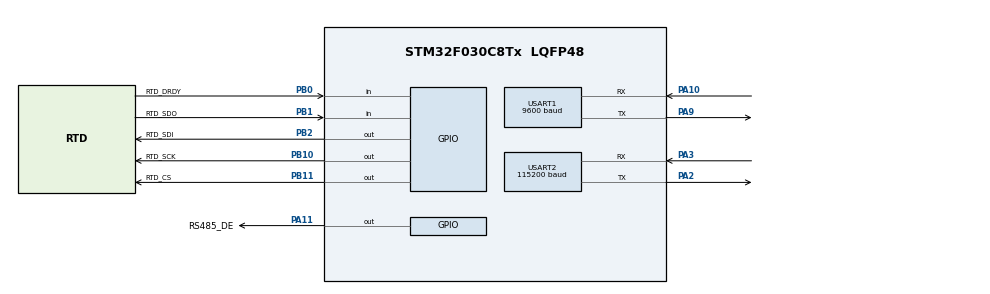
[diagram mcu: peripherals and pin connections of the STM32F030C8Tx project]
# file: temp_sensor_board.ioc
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Mcu.Family=STM32F0
Mcu.Name=STM32F030C8Tx
Mcu.Package=LQFP48
NVIC.USART1_IRQn=true\:0\:0\:false\:false\:true\:true\:true\:true
PA10.Mode=Asynchronous
PA10.Signal=USART1_RX
PA11.GPIO_Label=RS485_DE
PA11.Signal=GPIO_Output
PA2.Mode=Asynchronous
PA2.Signal=USART2_TX
PA3.Mode=Asynchronous
PA3.Signal=USART2_RX
PA9.Mode=Asynchronous
PA9.Signal=USART1_TX
PB0.GPIO_Label=RTD_DRDY
PB0.Signal=GPIO_Input
PB1.GPIO_Label=RTD_SDO
PB1.Signal=GPIO_Input
PB10.GPIO_Label=RTD_SCK
PB10.Signal=GPIO_Output
PB11.GPIO_Label=RTD_CS
PB11.Signal=GPIO_Output
PB2.GPIO_Label=RTD_SDI
PB2.Signal=GPIO_Output
ProjectManager.HeapSize=0x200
ProjectManager.StackSize=0x400
ProjectManager.TargetToolchain=CMake
USART1.BaudRate=9600
USART1.VirtualMode-Asynchronous=VM_ASYNC
USART2.BaudRate=115200
USART2.VirtualMode-Asynchronous=VM_ASYNC
board=custom

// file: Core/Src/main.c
/* USER CODE BEGIN Header */
/**
  ******************************************************************************
  * @file           : main.c
  * @brief          : Main program body
  ******************************************************************************
  * @attention
  *
  * Copyright (c) 2026 STMicroelectronics.
  * All rights reserved.
  *
  * This software is licensed under terms that can be found in the LICENSE file
  * in the root directory of this software component.
  * If no LICENSE file comes with this software, it is provided AS-IS.
  *
  ******************************************************************************
  */
/* USER CODE END Header */
#include "main.h"

/* USER CODE BEGIN Includes */
#include "max31865.h"
#include <stdio.h>
#include <string.h>
#include "uart_bus.h"
#include "protocol.h"
#include "commands.h"
/* USER CODE END Includes */

/* USER CODE BEGIN PD */
#define DEBUG_UART2 0
/* USER CODE END PD */

UART_HandleTypeDef huart1;
UART_HandleTypeDef huart2;

/* USER CODE BEGIN PV */
static SensorState g_state;
static uint32_t g_lastSampleTick = 0;
/* USER CODE END PV */

void SystemClock_Config(void);
static void MX_GPIO_Init(void);
static void MX_USART1_UART_Init(void);
static void MX_USART2_UART_Init(void);

int main(void)
{

  /* MCU Configuration--------------------------------------------------------*/

  /* Reset of all peripherals, Initializes the Flash interface and the Systick. */
  HAL_Init();

  /* Configure the system clock */
  SystemClock_Config();

  /* Initialize all configured peripherals */
  MX_GPIO_Init();
  MX_USART1_UART_Init();
  MX_USART2_UART_Init();
  /* USER CODE BEGIN 2 */
  Max31865_Init();
  UartBus_Init(&huart1);
  state_init_defaults(&g_state);
  g_lastSampleTick = HAL_GetTick();
  /* USER CODE END 2 */

  /* Infinite loop */
  /* USER CODE BEGIN WHILE */
    while (1)
  {
      if (HAL_GetTick() - g_lastSampleTick >= g_state.sampleMs) {
          g_lastSampleTick = HAL_GetTick();
          Max31865_Result r = Max31865_ReadOnce(50);

          g_state.sampleCount++;

          if (r.fault == 0) {
              float rawWithOffset = r.temperatureC + (g_state.offsetDeci / 10.0f);
              g_state.tempRawDeci = (int16_t)(rawWithOffset * 10);

              const float ALPHA = 0.2f;
              if (!g_state.filterInitDone) {
                  g_state.filteredTempC = rawWithOffset;
                  g_state.filterInitDone = 1;
              } else {
                  g_state.filteredTempC = ALPHA * rawWithOffset + (1.0f - ALPHA) * g_state.filteredTempC;
              }
              g_state.tempC = g_state.filteredTempC;

              if (!g_state.minMaxInitDone) {
                  g_state.minSeen = g_state.tempRawDeci;
                  g_state.maxSeen = g_state.tempRawDeci;
                  g_state.minMaxInitDone = 1;
              } else {
                  if (g_state.tempRawDeci < g_state.minSeen) g_state.minSeen = g_state.tempRawDeci;
                  if (g_state.tempRawDeci > g_state.maxSeen) g_state.maxSeen = g_state.tempRawDeci;
              }

              int16_t tempCDeci = (int16_t)(g_state.tempC * 10);
              if (g_state.warnLevel != 0) {
                  if (tempCDeci > g_state.maxTempDeci) g_state.warnState = 1;
                  else if (tempCDeci < g_state.minTempDeci) g_state.warnState = 2;
                  else g_state.warnState = 0;
              } else {
                  g_state.warnState = 0;
              }
          } else {
              if (r.fault & MAX31865_FAULT_PROBE_OPEN)  g_state.statusBits |= STATUS_PROBE_OPEN;
              if (r.fault & MAX31865_FAULT_PROBE_SHORT) g_state.statusBits |= STATUS_PROBE_SHORT;
              if (r.fault & MAX31865_FAULT_OUT_RANGE)   g_state.statusBits |= STATUS_OUT_RANGE;
              if (r.fault & MAX31865_FAULT_CONV_TIMEOUT)g_state.statusBits |= STATUS_CONV_TMO;

              if (g_state.statusBits != g_state.lastFault) {
                  g_state.faultCnt = (g_state.faultCnt < 255) ? g_state.faultCnt + 1 : 255;
                  g_state.lastFault = g_state.statusBits;
              }
          }
          #if DEBUG_UART2
          char dbg[80];
          int tWhole = (int)g_state.tempC;
          int tDeci = (int)((g_state.tempC - tWhole) * 10);
          if (tDeci < 0) tDeci = -tDeci;
          snprintf(dbg, sizeof(dbg), "tempC=%d.%d tempRaw=%d status=0x%02X warn=%d cfgState=%d\r\n",
                  tWhole, tDeci, g_state.tempRawDeci, g_state.statusBits, g_state.warnState, g_state.cfgState);
          HAL_UART_Transmit(&huart2, (uint8_t*)dbg, strlen(dbg), 100);
          #endif
      }

      uint8_t rawBuf[UART_BUS_MAX_FRAME];
      uint16_t rawLen;
      if (UartBus_PollFrame(rawBuf, &rawLen)) {
          Frame req;
          FrameParseResult pr = frame_parse(rawBuf, rawLen, &req);

          if (pr == FRAME_OK) {
              if (req.addr == 0x00) {
                  /* Broadcast: xử lý nếu cần rồi im lặng tuyệt đối */
              } else if (req.addr == MY_ADDR) {
                  Frame resp;
                  handle_frame(&req, &resp, &g_state);
                  uint8_t out[MAX_FRAME];
                  size_t outLen = frame_build(out, sizeof(out), &resp);
                  UartBus_SendFrame(out, (uint16_t)outLen);
              }
          }
      }

    /* USER CODE END WHILE */

  }
}

void SystemClock_Config(void)
{
  RCC_OscInitTypeDef RCC_OscInitStruct = {0};
  RCC_ClkInitTypeDef RCC_ClkInitStruct = {0};
  RCC_PeriphCLKInitTypeDef PeriphClkInit = {0};

  /** Initializes the RCC Oscillators according to the specified parameters
  * in the RCC_OscInitTypeDef structure.
  */
  RCC_OscInitStruct.OscillatorType = RCC_OSCILLATORTYPE_HSI;
  RCC_OscInitStruct.HSIState = RCC_HSI_ON;
  RCC_OscInitStruct.HSICalibrationValue = RCC_HSICALIBRATION_DEFAULT;
  RCC_OscInitStruct.PLL.PLLState = RCC_PLL_NONE;
  if (HAL_RCC_OscConfig(&RCC_OscInitStruct) != HAL_OK)
  {
    Error_Handler();
  }

  /** Initializes the CPU, AHB and APB buses clocks
  */
  RCC_ClkInitStruct.ClockType = RCC_CLOCKTYPE_HCLK|RCC_CLOCKTYPE_SYSCLK
                              |RCC_CLOCKTYPE_PCLK1;
  RCC_ClkInitStruct.SYSCLKSource = RCC_SYSCLKSOURCE_HSI;
  RCC_ClkInitStruct.AHBCLKDivider = RCC_SYSCLK_DIV1;
  RCC_ClkInitStruct.APB1CLKDivider = RCC_HCLK_DIV1;

  if (HAL_RCC_ClockConfig(&RCC_ClkInitStruct, FLASH_LATENCY_0) != HAL_OK)
  {
    Error_Handler();
  }
  PeriphClkInit.PeriphClockSelection = RCC_PERIPHCLK_USART1;
  PeriphClkInit.Usart1ClockSelection = RCC_USART1CLKSOURCE_PCLK1;
  if (HAL_RCCEx_PeriphCLKConfig(&PeriphClkInit) != HAL_OK)
  {
    Error_Handler();
  }
}

static void MX_USART1_UART_Init(void)
{

  huart1.Instance = USART1;
  huart1.Init.BaudRate = 9600;
  huart1.Init.WordLength = UART_WORDLENGTH_8B;
  huart1.Init.StopBits = UART_STOPBITS_1;
  huart1.Init.Parity = UART_PARITY_NONE;
  huart1.Init.Mode = UART_MODE_TX_RX;
  huart1.Init.HwFlowCtl = UART_HWCONTROL_NONE;
  huart1.Init.OverSampling = UART_OVERSAMPLING_16;
  huart1.Init.OneBitSampling = UART_ONE_BIT_SAMPLE_DISABLE;
  huart1.AdvancedInit.AdvFeatureInit = UART_ADVFEATURE_NO_INIT;
  if (HAL_UART_Init(&huart1) != HAL_OK)
  {
    Error_Handler();
  }

}

static void MX_USART2_UART_Init(void)
{

  huart2.Instance = USART2;
  huart2.Init.BaudRate = 115200;
  huart2.Init.WordLength = UART_WORDLENGTH_8B;
  huart2.Init.StopBits = UART_STOPBITS_1;
  huart2.Init.Parity = UART_PARITY_NONE;
  huart2.Init.Mode = UART_MODE_TX_RX;
  huart2.Init.HwFlowCtl = UART_HWCONTROL_NONE;
  huart2.Init.OverSampling = UART_OVERSAMPLING_16;
  huart2.Init.OneBitSampling = UART_ONE_BIT_SAMPLE_DISABLE;
  huart2.AdvancedInit.AdvFeatureInit = UART_ADVFEATURE_NO_INIT;
  if (HAL_UART_Init(&huart2) != HAL_OK)
  {
    Error_Handler();
  }

}

static void MX_GPIO_Init(void)
{
  GPIO_InitTypeDef GPIO_InitStruct = {0};

  /* GPIO Ports Clock Enable */
  __HAL_RCC_GPIOA_CLK_ENABLE();
  __HAL_RCC_GPIOB_CLK_ENABLE();

  /*Configure GPIO pin Output Level */
  HAL_GPIO_WritePin(GPIOB, RTD_SDI_Pin|RTD_SCK_Pin|RTD_CS_Pin, GPIO_PIN_RESET);

  /*Configure GPIO pin Output Level */
  HAL_GPIO_WritePin(RS485_DE_GPIO_Port, RS485_DE_Pin, GPIO_PIN_RESET);

  /*Configure GPIO pins : RTD_DRDY_Pin RTD_SDO_Pin */
  GPIO_InitStruct.Pin = RTD_DRDY_Pin|RTD_SDO_Pin;
  GPIO_InitStruct.Mode = GPIO_MODE_INPUT;
  GPIO_InitStruct.Pull = GPIO_NOPULL;
  HAL_GPIO_Init(GPIOB, &GPIO_InitStruct);

  /*Configure GPIO pins : RTD_SDI_Pin RTD_SCK_Pin RTD_CS_Pin */
  GPIO_InitStruct.Pin = RTD_SDI_Pin|RTD_SCK_Pin|RTD_CS_Pin;
  GPIO_InitStruct.Mode = GPIO_MODE_OUTPUT_PP;
  GPIO_InitStruct.Pull = GPIO_NOPULL;
  GPIO_InitStruct.Speed = GPIO_SPEED_FREQ_LOW;
  HAL_GPIO_Init(GPIOB, &GPIO_InitStruct);

  /*Configure GPIO pin : RS485_DE_Pin */
  GPIO_InitStruct.Pin = RS485_DE_Pin;
  GPIO_InitStruct.Mode = GPIO_MODE_OUTPUT_PP;
  GPIO_InitStruct.Pull = GPIO_NOPULL;
  GPIO_InitStruct.Speed = GPIO_SPEED_FREQ_LOW;
  HAL_GPIO_Init(RS485_DE_GPIO_Port, &GPIO_InitStruct);

}

/* USER CODE BEGIN 4 */
void HAL_UART_RxCpltCallback(UART_HandleTypeDef *huart) {
    UartBus_OnByteReceived(huart);
}
/* USER CODE END 4 */

void Error_Handler(void)
{
  __disable_irq();
  while (1)
  {
  }
}
